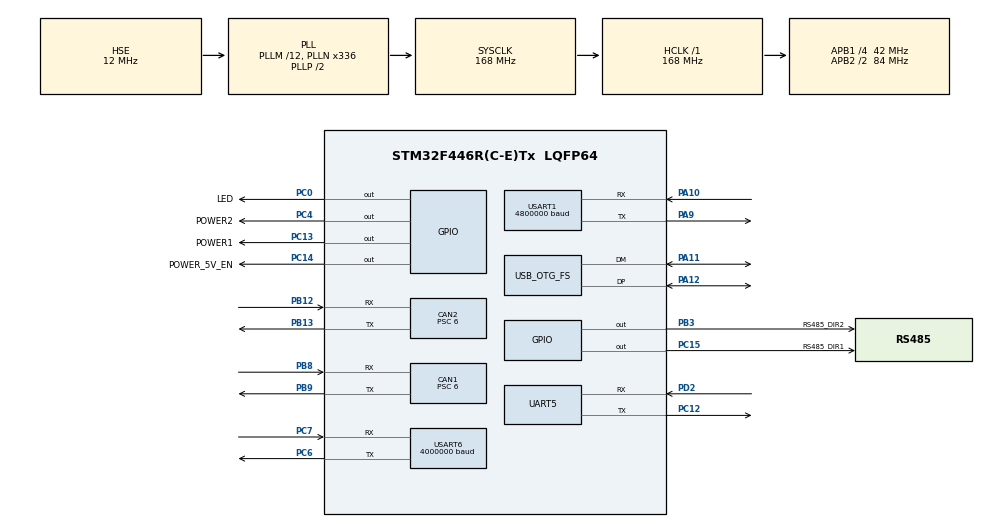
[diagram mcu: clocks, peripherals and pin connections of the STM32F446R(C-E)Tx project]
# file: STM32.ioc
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CAN1.BS1=CAN_BS1_4TQ
CAN1.BS2=CAN_BS2_2TQ
CAN1.CalculateBaudRate=1000000
CAN1.CalculateTimeBit=1000
CAN1.CalculateTimeQuantum=142.85714285714286
CAN1.Prescaler=6
CAN2.BS1=CAN_BS1_4TQ
CAN2.BS2=CAN_BS2_2TQ
CAN2.CalculateBaudRate=1000000
CAN2.CalculateTimeBit=1000
CAN2.CalculateTimeQuantum=142.85714285714286
CAN2.Prescaler=6
Dma.Request0=USART1_RX
Dma.Request1=USART1_TX
Dma.Request2=USART6_RX
Dma.Request3=USART6_TX
Dma.USART1_RX.0.Direction=DMA_PERIPH_TO_MEMORY
Dma.USART1_RX.0.FIFOMode=DMA_FIFOMODE_DISABLE
Dma.USART1_RX.0.Instance=DMA2_Stream2
Dma.USART1_RX.0.MemDataAlignment=DMA_MDATAALIGN_BYTE
Dma.USART1_RX.0.MemInc=DMA_MINC_ENABLE
Dma.USART1_RX.0.Mode=DMA_NORMAL
Dma.USART1_RX.0.PeriphDataAlignment=DMA_PDATAALIGN_BYTE
Dma.USART1_RX.0.PeriphInc=DMA_PINC_DISABLE
Dma.USART1_RX.0.Priority=DMA_PRIORITY_MEDIUM
Dma.USART1_TX.1.Direction=DMA_MEMORY_TO_PERIPH
Dma.USART1_TX.1.FIFOMode=DMA_FIFOMODE_DISABLE
Dma.USART1_TX.1.Instance=DMA2_Stream7
Dma.USART1_TX.1.MemDataAlignment=DMA_MDATAALIGN_BYTE
Dma.USART1_TX.1.MemInc=DMA_MINC_ENABLE
Dma.USART1_TX.1.Mode=DMA_NORMAL
Dma.USART1_TX.1.PeriphDataAlignment=DMA_PDATAALIGN_BYTE
Dma.USART1_TX.1.PeriphInc=DMA_PINC_DISABLE
Dma.USART1_TX.1.Priority=DMA_PRIORITY_MEDIUM
Dma.USART6_RX.2.Direction=DMA_PERIPH_TO_MEMORY
Dma.USART6_RX.2.FIFOMode=DMA_FIFOMODE_DISABLE
Dma.USART6_RX.2.Instance=DMA2_Stream1
Dma.USART6_RX.2.MemDataAlignment=DMA_MDATAALIGN_BYTE
Dma.USART6_RX.2.MemInc=DMA_MINC_ENABLE
Dma.USART6_RX.2.Mode=DMA_NORMAL
Dma.USART6_RX.2.PeriphDataAlignment=DMA_PDATAALIGN_BYTE
Dma.USART6_RX.2.PeriphInc=DMA_PINC_DISABLE
Dma.USART6_RX.2.Priority=DMA_PRIORITY_MEDIUM
Dma.USART6_TX.3.Direction=DMA_MEMORY_TO_PERIPH
Dma.USART6_TX.3.FIFOMode=DMA_FIFOMODE_DISABLE
Dma.USART6_TX.3.Instance=DMA2_Stream6
Dma.USART6_TX.3.MemDataAlignment=DMA_MDATAALIGN_BYTE
Dma.USART6_TX.3.MemInc=DMA_MINC_ENABLE
Dma.USART6_TX.3.Mode=DMA_NORMAL
Dma.USART6_TX.3.PeriphDataAlignment=DMA_PDATAALIGN_BYTE
Dma.USART6_TX.3.PeriphInc=DMA_PINC_DISABLE
Dma.USART6_TX.3.Priority=DMA_PRIORITY_MEDIUM
FREERTOS.INCLUDE_eTaskGetState=1
FREERTOS.INCLUDE_vTaskDelayUntil=1
FREERTOS.Mutexes01=bufferMutex,Dynamic,NULL
FREERTOS.Queues01=JogCmdQueue,16,uint32_t,0,Dynamic,NULL,NULL
FREERTOS.Tasks01=defaultTask,-3,128,StartDefaultTask,Default,NULL,Dynamic,NULL,NULL;JogTask,-1,128,StartJogTask,Default,NULL,Dynamic,NULL,NULL;MotorDataTask,-2,128,ProcessMotorDataTask,Default,NULL,Dynamic,NULL,NULL
FREERTOS.configUSE_NEWLIB_REENTRANT=1
Mcu.Family=STM32F4
Mcu.Name=STM32F446R(C-E)Tx
Mcu.Package=LQFP64
NVIC.CAN1_RX0_IRQn=true\:5\:0\:false\:false\:true\:true\:true\:true\:true
NVIC.CAN2_RX0_IRQn=true\:5\:0\:false\:false\:true\:true\:true\:true\:true
NVIC.DMA2_Stream1_IRQn=true\:5\:0\:false\:false\:true\:true\:false\:true\:true
NVIC.DMA2_Stream2_IRQn=true\:5\:0\:false\:false\:true\:true\:false\:true\:true
NVIC.DMA2_Stream6_IRQn=true\:5\:0\:false\:false\:true\:true\:false\:true\:true
NVIC.DMA2_Stream7_IRQn=true\:5\:0\:false\:false\:true\:true\:false\:true\:true
NVIC.OTG_FS_IRQn=true\:5\:0\:false\:false\:true\:true\:true\:true\:true
NVIC.PriorityGroup=NVIC_PRIORITYGROUP_4
NVIC.TIM6_DAC_IRQn=true\:15\:0\:true\:false\:true\:false\:false\:true\:true
NVIC.TimeBase=TIM6_DAC_IRQn
NVIC.TimeBaseIP=TIM6
NVIC.UART5_IRQn=true\:5\:0\:false\:false\:true\:true\:true\:true\:true
NVIC.USART1_IRQn=true\:5\:0\:false\:false\:true\:true\:true\:true\:true
NVIC.USART6_IRQn=true\:5\:0\:false\:false\:true\:true\:true\:true\:true
PA10.Mode=Asynchronous
PA10.Signal=USART1_RX
PA11.Mode=Device_Only
PA11.Signal=USB_OTG_FS_DM
PA12.Mode=Device_Only
PA12.Signal=USB_OTG_FS_DP
PA13.Mode=Serial_Wire
PA13.Signal=SYS_JTMS-SWDIO
PA14.Mode=Serial_Wire
PA14.Signal=SYS_JTCK-SWCLK
PA9.Mode=Asynchronous
PA9.Signal=USART1_TX
PB12.Mode=CAN_Activate
PB12.Signal=CAN2_RX
PB13.Mode=CAN_Activate
PB13.Signal=CAN2_TX
PB3.GPIO_Label=RS485_DIR2
PB3.Signal=GPIO_Output
PB8.Mode=CAN_Activate
PB8.Signal=CAN1_RX
PB9.Mode=CAN_Activate
PB9.Signal=CAN1_TX
PC0.GPIO_Label=LED
PC0.Signal=GPIO_Output
PC12.Mode=Asynchronous
PC12.Signal=UART5_TX
PC13.GPIO_Label=POWER1
PC13.PinState=GPIO_PIN_SET
PC13.Signal=GPIO_Output
PC14-OSC32_IN.GPIO_Label=POWER_5V_EN
PC14-OSC32_IN.PinState=GPIO_PIN_SET
PC14-OSC32_IN.Signal=GPIO_Output
PC15-OSC32_OUT.GPIO_Label=RS485_DIR1
PC15-OSC32_OUT.Signal=GPIO_Output
PC4.GPIO_Label=POWER2
PC4.PinState=GPIO_PIN_SET
PC4.Signal=GPIO_Output
PC6.Mode=Asynchronous
PC6.Signal=USART6_TX
PC7.Mode=Asynchronous
PC7.Signal=USART6_RX
PD2.Mode=Asynchronous
PD2.Signal=UART5_RX
PH0-OSC_IN.Mode=HSE-External-Oscillator
PH0-OSC_IN.Signal=RCC_OSC_IN
PH1-OSC_OUT.Mode=HSE-External-Oscillator
PH1-OSC_OUT.Signal=RCC_OSC_OUT
ProjectManager.HeapSize=0x400
ProjectManager.StackSize=0x800
ProjectManager.TargetToolchain=STM32CubeIDE
RCC.AHBFreq_Value=168000000
RCC.APB1CLKDivider=RCC_HCLK_DIV4
RCC.APB1Freq_Value=42000000
RCC.APB1TimFreq_Value=84000000
RCC.APB2CLKDivider=RCC_HCLK_DIV2
RCC.APB2Freq_Value=84000000
RCC.APB2TimFreq_Value=168000000
RCC.CortexFreq_Value=168000000
RCC.HCLKFreq_Value=168000000
RCC.HSE_VALUE=12000000
RCC.PLLM=12
RCC.PLLN=336
RCC.PLLQ=7
RCC.PLLSourceVirtual=RCC_PLLSOURCE_HSE
RCC.SYSCLKFreq_VALUE=168000000
RCC.SYSCLKSource=RCC_SYSCLKSOURCE_PLLCLK
RCC.USBFreq_Value=48000000
RCC.VCOOutputFreq_Value=336000000
UART5.VirtualMode=Asynchronous
USART1.BaudRate=4800000
USART1.OverSampling=UART_OVERSAMPLING_8
USART1.VirtualMode=VM_ASYNC
USART6.BaudRate=4000000
USART6.OverSampling=UART_OVERSAMPLING_8
USART6.VirtualMode=VM_ASYNC
USB_DEVICE.CLASS_NAME_FS=CDC
USB_DEVICE.VirtualMode-CDC_FS=Cdc
USB_DEVICE.VirtualModeFS=Cdc_FS
USB_OTG_FS.VirtualMode=Device_Only
VP_FREERTOS_VS_CMSIS_V1.Mode=CMSIS_V1
VP_SYS_VS_tim6.Mode=TIM6
VP_USB_DEVICE_VS_USB_DEVICE_CDC_FS.Mode=CDC_FS
board=custom

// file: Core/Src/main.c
/* USER CODE BEGIN Header */
/**
 ******************************************************************************
 * @file           : main.c
 * @brief          : Main program body
 ******************************************************************************
 * @attention
 *
 * Copyright (c) 2024 STMicroelectronics.
 * All rights reserved.
 *
 * This software is licensed under terms that can be found in the LICENSE file
 * in the root directory of this software component.
 * If no LICENSE file comes with this software, it is provided AS-IS.
 *
 ******************************************************************************
 */
/* USER CODE END Header */
#include "main.h"
#include "cmsis_os.h"
#include "can.h"
#include "dma.h"
#include "usart.h"
#include "usb_device.h"
#include "gpio.h"

/* USER CODE BEGIN Includes */
#include "bsp.h"
#include "board.h"
/* USER CODE END Includes */

void SystemClock_Config(void);
void MX_FREERTOS_Init(void);

int main(void)
{

  /* MCU Configuration--------------------------------------------------------*/

  /* Reset of all peripherals, Initializes the Flash interface and the Systick. */
  HAL_Init();

  /* Configure the system clock */
  SystemClock_Config();

  /* Initialize all configured peripherals */
  MX_GPIO_Init();
  MX_DMA_Init();
  MX_CAN1_Init();
  MX_USART1_UART_Init();
  MX_USART6_UART_Init();
  MX_CAN2_Init();
  MX_UART5_Init();
  /* USER CODE BEGIN 2 */
	CAN_Filter_Init();
	BSP_Init();
	Board_Init();

//	uint8_t dada[17] = { 0xfe, 0xee, 0x10, 0x00, 0x00, 0x01, 0x01, 0x00, 0x00, 0x00, 0x00, 0x00, 0x00, 0x19, 0x00, 0xe6,
//			0x5a };
//	uint8_t aaa[38] = { 0x01, 0x00, 0x05, 0x00, 0x00, 0x7A, 0x44, 0x0A, 0xD7, 0xA3, 0x3B,
//			0x00, 0x00, 0x00, 0x00, 0x00, 0x00, 0x00, 0x00, 0x00,
//	        0x00, 0x00, 0x00, 0x00, 0x00, 0x00, 0x00, 0x00, 0x00,
//	        0x00, 0x00, 0x00, 0x00, 0x00, 0x00, 0x00, 0x00, 0x00};
//	01 00 05 00 00 7A 44 0A D7 A3 3B 00 00 00 00 00 00 00 00 00 00 00 00 00 00 00 00 00 00 00 00 00 00 00 00 00 00 00
  /* USER CODE END 2 */

  /* Call init function for freertos objects (in cmsis_os2.c) */
  MX_FREERTOS_Init();

  /* Start scheduler */
  osKernelStart();

  /* We should never get here as control is now taken by the scheduler */

  /* Infinite loop */
	while (1) {

    /* USER CODE BEGIN 3 */
//		GO_Motor_SetCmd(board.steer_motor, GO_MODE_W, 0, -2, 0);
//		GO_Motor_Send(board.steer_motor);
//		A1_Motor_SetCmd(board.roll_motor, A1_MODE_W, 0, 1, 0);
//		A1_Motor_Send(board.roll_motor);
		RE35_Motor_SetCmd(board.cable_motor, VEL, 1000, 0);
		RE35_Motor_Send(board.cable_motor);
//		if(HAL_UART_Transmit(&huart5, dada, sizeof(dada), 100)!=HAL_OK)
//			Error_Handler();
//
		HAL_GPIO_TogglePin(LED_GPIO_Port, LED_Pin);
		HAL_Delay(500);
	}
  /* USER CODE END 3 */
}

void SystemClock_Config(void)
{
  RCC_OscInitTypeDef RCC_OscInitStruct = {0};
  RCC_ClkInitTypeDef RCC_ClkInitStruct = {0};

  /** Configure the main internal regulator output voltage
  */
  __HAL_RCC_PWR_CLK_ENABLE();
  __HAL_PWR_VOLTAGESCALING_CONFIG(PWR_REGULATOR_VOLTAGE_SCALE1);

  /** Initializes the RCC Oscillators according to the specified parameters
  * in the RCC_OscInitTypeDef structure.
  */
  RCC_OscInitStruct.OscillatorType = RCC_OSCILLATORTYPE_HSE;
  RCC_OscInitStruct.HSEState = RCC_HSE_ON;
  RCC_OscInitStruct.PLL.PLLState = RCC_PLL_ON;
  RCC_OscInitStruct.PLL.PLLSource = RCC_PLLSOURCE_HSE;
  RCC_OscInitStruct.PLL.PLLM = 12;
  RCC_OscInitStruct.PLL.PLLN = 336;
  RCC_OscInitStruct.PLL.PLLP = RCC_PLLP_DIV2;
  RCC_OscInitStruct.PLL.PLLQ = 7;
  RCC_OscInitStruct.PLL.PLLR = 2;
  if (HAL_RCC_OscConfig(&RCC_OscInitStruct) != HAL_OK)
  {
    Error_Handler();
  }

  /** Initializes the CPU, AHB and APB buses clocks
  */
  RCC_ClkInitStruct.ClockType = RCC_CLOCKTYPE_HCLK|RCC_CLOCKTYPE_SYSCLK
                              |RCC_CLOCKTYPE_PCLK1|RCC_CLOCKTYPE_PCLK2;
  RCC_ClkInitStruct.SYSCLKSource = RCC_SYSCLKSOURCE_PLLCLK;
  RCC_ClkInitStruct.AHBCLKDivider = RCC_SYSCLK_DIV1;
  RCC_ClkInitStruct.APB1CLKDivider = RCC_HCLK_DIV4;
  RCC_ClkInitStruct.APB2CLKDivider = RCC_HCLK_DIV2;

  if (HAL_RCC_ClockConfig(&RCC_ClkInitStruct, FLASH_LATENCY_5) != HAL_OK)
  {
    Error_Handler();
  }
}

void HAL_TIM_PeriodElapsedCallback(TIM_HandleTypeDef *htim)
{
  if (htim->Instance == TIM6) {
    HAL_IncTick();
  }
}

void Error_Handler(void)
{
	__disable_irq();
	while (1) {
	}
}

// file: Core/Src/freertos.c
/* USER CODE BEGIN Header */
/**
 ******************************************************************************
 * File Name          : freertos.c
 * Description        : Code for freertos applications
 ******************************************************************************
 * @attention
 *
 * Copyright (c) 2024 STMicroelectronics.
 * All rights reserved.
 *
 * This software is licensed under terms that can be found in the LICENSE file
 * in the root directory of this software component.
 * If no LICENSE file comes with this software, it is provided AS-IS.
 *
 ******************************************************************************
 */
/* USER CODE END Header */

#include "FreeRTOS.h"
#include "task.h"
#include "main.h"
#include "cmsis_os.h"

/* USER CODE BEGIN Includes */
#include "task.h"
#include "stdlib.h"
#include "bsp.h"
#include "board.h"
#include "utilities.h"
#include "usbd_cdc_if.h"
/* USER CODE END Includes */

osThreadId defaultTaskHandle;
osThreadId JogTaskHandle;
osThreadId MotorDataTaskHandle;
osMessageQId JogCmdQueueHandle;
osMutexId bufferMutexHandle;

void StartDefaultTask(void const * argument);
void StartJogTask(void const * argument);
void ProcessMotorDataTask(void const * argument);

extern void MX_USB_DEVICE_Init(void);
void MX_FREERTOS_Init(void); /* (MISRA C 2004 rule 8.1) */

/* GetIdleTaskMemory prototype (linked to static allocation support) */
void vApplicationGetIdleTaskMemory( StaticTask_t **ppxIdleTaskTCBBuffer, StackType_t **ppxIdleTaskStackBuffer, uint32_t *pulIdleTaskStackSize );

/* USER CODE BEGIN GET_IDLE_TASK_MEMORY */
static StaticTask_t xIdleTaskTCBBuffer;
static StackType_t xIdleStack[configMINIMAL_STACK_SIZE];

void vApplicationGetIdleTaskMemory(StaticTask_t **ppxIdleTaskTCBBuffer, StackType_t **ppxIdleTaskStackBuffer,
        uint32_t *pulIdleTaskStackSize) {
	*ppxIdleTaskTCBBuffer = &xIdleTaskTCBBuffer;
	*ppxIdleTaskStackBuffer = &xIdleStack[0];
	*pulIdleTaskStackSize = configMINIMAL_STACK_SIZE;
	/* place for user code */
}
/* USER CODE END GET_IDLE_TASK_MEMORY */

void MX_FREERTOS_Init(void) {
  /* Create the mutex(es) */
  /* definition and creation of bufferMutex */
  osMutexDef(bufferMutex);
  bufferMutexHandle = osMutexCreate(osMutex(bufferMutex));

  /* Create the queue(s) */
  /* definition and creation of JogCmdQueue */
  osMessageQDef(JogCmdQueue, 16, uint32_t);
  JogCmdQueueHandle = osMessageCreate(osMessageQ(JogCmdQueue), NULL);

  /* Create the thread(s) */
  /* definition and creation of defaultTask */
  osThreadDef(defaultTask, StartDefaultTask, osPriorityIdle, 0, 128);
  defaultTaskHandle = osThreadCreate(osThread(defaultTask), NULL);

  /* definition and creation of JogTask */
  osThreadDef(JogTask, StartJogTask, osPriorityBelowNormal, 0, 128);
  JogTaskHandle = osThreadCreate(osThread(JogTask), NULL);

  /* definition and creation of MotorDataTask */
  osThreadDef(MotorDataTask, ProcessMotorDataTask, osPriorityLow, 0, 128);
  MotorDataTaskHandle = osThreadCreate(osThread(MotorDataTask), NULL);

}

void StartDefaultTask(void const * argument)
{
  /* init code for USB_DEVICE */
  MX_USB_DEVICE_Init();
  /* USER CODE BEGIN StartDefaultTask */

	/* Infinite loop */
	for (;;) {
		HAL_GPIO_TogglePin(LED_GPIO_Port, LED_Pin);
		osDelay(500);
	}
  /* USER CODE END StartDefaultTask */
}

void StartJogTask(void const * argument)
{
  /* USER CODE BEGIN StartJogTask */
	JogCmd *buf;
	osEvent evt;
	/* Infinite loop */
	for (;;) {
		evt = osMessageGet(JogCmdQueueHandle, osWaitForever);
		if (evt.status == osEventMessage) {
			buf = (JogCmd*) evt.value.p;

			Process_Cmd(buf);
		}
	}
  /* USER CODE END StartJogTask */
}

void ProcessMotorDataTask(void const * argument)
{
  /* USER CODE BEGIN ProcessMotorDataTask */
	uint8_t data[40] = {0XAA, 0X55};
	data[38] = 0xcc; data[39] = 0x88;
  /* Infinite loop */
  for(;;)
  {
	memcpy(&data[2], &robot_fb_data, sizeof(robot_fb_data));
	CDC_Transmit_FS((uint8_t*)data, sizeof(data));
    osDelay(5);
  }
  /* USER CODE END ProcessMotorDataTask */
}
